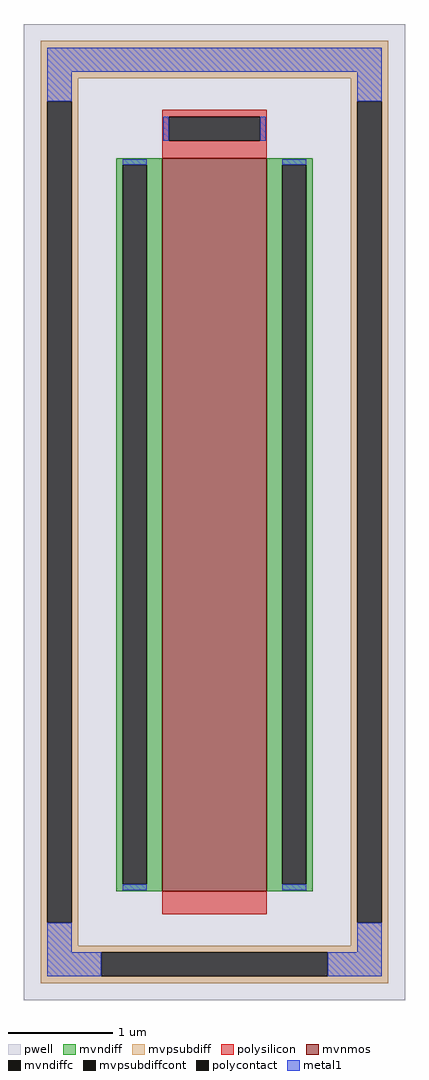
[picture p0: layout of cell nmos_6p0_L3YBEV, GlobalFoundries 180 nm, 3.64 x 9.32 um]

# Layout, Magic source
magic
tech gf180mcuD
magscale 1 10
<< pwell >>
rect -364 -932 364 932
<< mvnmos >>
rect -100 -724 100 676
<< mvndiff >>
rect -188 663 -100 676
rect -188 -711 -175 663
rect -129 -711 -100 663
rect -188 -724 -100 -711
rect 100 663 188 676
rect 100 -711 129 663
rect 175 -711 188 663
rect 100 -724 188 -711
<< mvndiffc >>
rect -175 -711 -129 663
rect 129 -711 175 663
<< mvpsubdiff >>
rect -332 828 332 900
rect -332 784 -260 828
rect -332 -784 -319 784
rect -273 -784 -260 784
rect 260 784 332 828
rect -332 -828 -260 -784
rect 260 -784 273 784
rect 319 -784 332 784
rect 260 -828 332 -784
rect -332 -841 332 -828
rect -332 -887 -216 -841
rect 216 -887 332 -841
rect -332 -900 332 -887
<< mvpsubdiffcont >>
rect -319 -784 -273 784
rect 273 -784 319 784
rect -216 -887 216 -841
<< polysilicon >>
rect -100 755 100 768
rect -100 709 -87 755
rect 87 709 100 755
rect -100 676 100 709
rect -100 -768 100 -724
<< polycontact >>
rect -87 709 87 755
<< metal1 >>
rect -319 841 319 887
rect -319 784 -273 841
rect 273 784 319 841
rect -98 709 -87 755
rect 87 709 98 755
rect -175 663 -129 674
rect -175 -722 -129 -711
rect 129 663 175 674
rect 129 -722 175 -711
rect -319 -841 -273 -784
rect 273 -841 319 -784
rect -319 -887 -216 -841
rect 216 -887 319 -841
<< properties >>
string FIXED_BBOX -296 -864 296 864
string gencell nmos_6p0
string library gf180mcu
string parameters w 7.0 l 1.0 m 1 nf 1 diffcov 100 polycov 100 guard 1 glc 1 grc 1 gtc 0 gbc 1 tbcov 100 rlcov 100 topc 1 botc 0 poverlap 0 doverlap 1 lmin 0.6 wmin 0.3 full_metal 1 compatible {nmos_3p3 nmos_6p0 nmos_6p0_nat}
<< end >>
